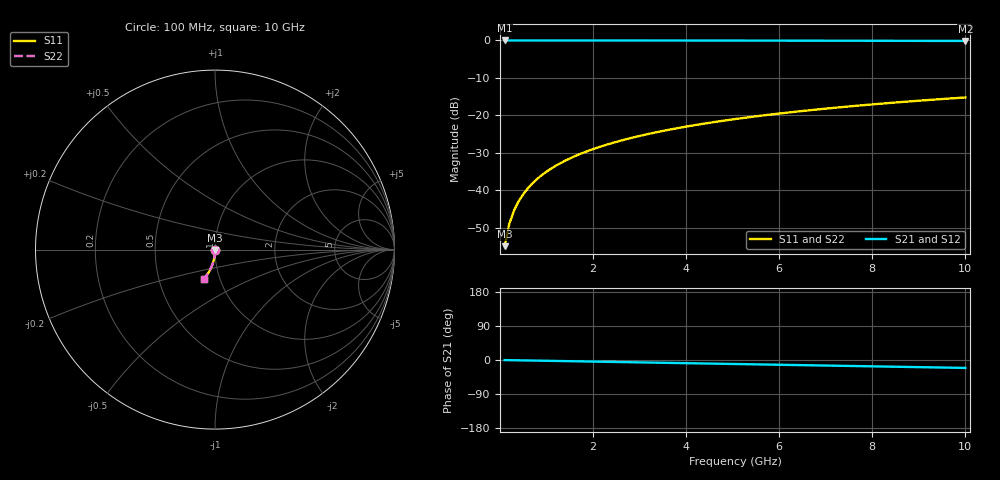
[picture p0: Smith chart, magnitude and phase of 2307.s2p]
# Hz S RI R 50.00
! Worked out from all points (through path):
!   100 points, 100 MHz to 10 GHz, reference 50 ohm
!   highest |S21| = 0.00 dB at 100 MHz (marker M1); lowest = -0.1 dB at 10 GHz (marker M2)
!   group delay of S21, straight-line fit = 5.81 ps
!   lowest |S11| = -54.9 dB at 100 MHz (marker M3), VSWR 1.00, Z = 50 - j0.177 ohm
!   |S11| at or under -10 dB: start of sweep to end of sweep
!   |S22| runs from -54.9 to -15.2 dB; largest |S21 - S12| = 0
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1e8  0.000272 -0.00177  0.9997 -0.00364  0.9997 -0.00364  0.000272 -0.00177
2e8  0.000252 -0.00354  0.9997 -0.00728  0.9997 -0.00728  0.000252 -0.00354
3e8  0.000219 -0.0053  0.9996 -0.0109  0.9996 -0.0109  0.000219 -0.0053
4e8  0.000172 -0.00707  0.9996 -0.0146  0.9996 -0.0146  0.000172 -0.00707
5e8  0.000113 -0.00884  0.9995 -0.0182  0.9995 -0.0182  0.000113 -0.00884
6e8  4.05e-05 -0.0106  0.9994 -0.0218  0.9994 -0.0218  4.05e-05 -0.0106
7e8  -4.49e-05 -0.0124  0.9993 -0.0255  0.9993 -0.0255  -4.49e-05 -0.0124
8e8  -0.000143 -0.0141  0.9992 -0.0291  0.9992 -0.0291  -0.000143 -0.0141
9e8  -0.000255 -0.0159  0.999 -0.0327  0.999 -0.0327  -0.000255 -0.0159
1.1e9  -0.000516 -0.0194  0.9987 -0.04  0.9987 -0.04  -0.000516 -0.0194
1.4e9  -0.001 -0.0247  0.9981 -0.0509  0.9981 -0.0509  -0.001 -0.0247
1.8e9  -0.00184 -0.0318  0.997 -0.0655  0.997 -0.0655  -0.00184 -0.0318
2.1e9  -0.0026 -0.037  0.996 -0.0764  0.996 -0.0764  -0.0026 -0.037
2.5e9  -0.00379 -0.044  0.9945 -0.0909  0.9945 -0.0909  -0.00379 -0.044
2.9e9  -0.00519 -0.051  0.9927 -0.1054  0.9927 -0.1054  -0.00519 -0.051
3.4e9  -0.00722 -0.0597  0.9901 -0.1234  0.9901 -0.1234  -0.00722 -0.0597
4.2e9  -0.0111 -0.0733  0.9851 -0.1522  0.9851 -0.1522  -0.0111 -0.0733
5.1e9  -0.0165 -0.0884  0.9783 -0.1842  0.9783 -0.1842  -0.0165 -0.0884
5.9e9  -0.022 -0.1015  0.9711 -0.2125  0.9711 -0.2125  -0.022 -0.1015
6.7e9  -0.0284 -0.1142  0.963 -0.2404  0.963 -0.2404  -0.0284 -0.1142
8.4e9  -0.0442 -0.1399  0.9425 -0.2985  0.9425 -0.2985  -0.0442 -0.1399
1e10  -0.0618 -0.1619  0.9195 -0.3512  0.9195 -0.3512  -0.0618 -0.1619
